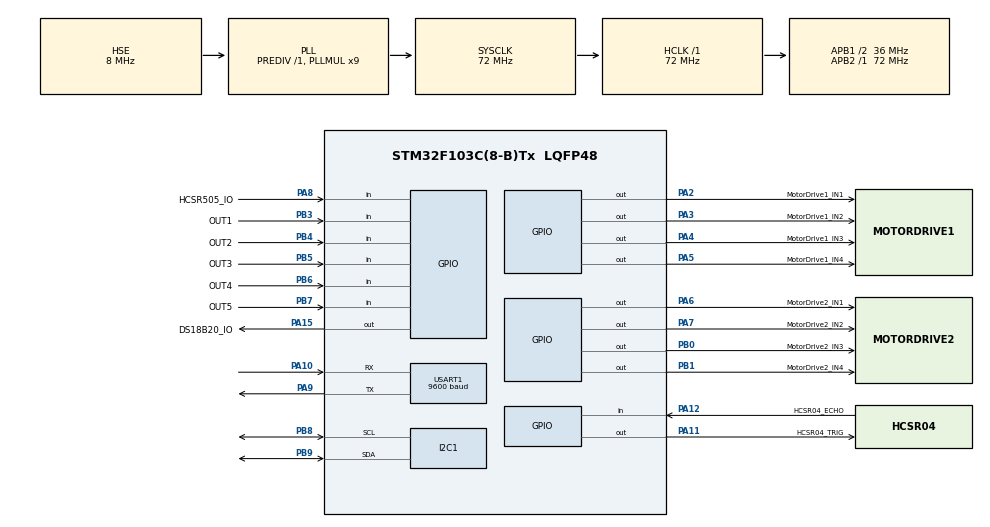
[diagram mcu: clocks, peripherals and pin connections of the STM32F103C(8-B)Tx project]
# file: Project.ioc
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Mcu.Family=STM32F1
Mcu.Name=STM32F103C(8-B)Tx
Mcu.Package=LQFP48
NVIC.PriorityGroup=NVIC_PRIORITYGROUP_4
PA10.Mode=Asynchronous
PA10.Signal=USART1_RX
PA11.GPIO_Label=HCSR04_TRIG
PA11.GPIO_PuPd=GPIO_PULLDOWN
PA11.GPIO_Speed=GPIO_SPEED_FREQ_HIGH
PA11.Signal=GPIO_Output
PA12.GPIO_Label=HCSR04_ECHO
PA12.Signal=GPIO_Input
PA13.Mode=Serial_Wire
PA13.Signal=SYS_JTMS-SWDIO
PA14.Mode=Serial_Wire
PA14.Signal=SYS_JTCK-SWCLK
PA15.GPIO_Label=DS18B20_IO
PA15.GPIO_PuPd=GPIO_PULLUP
PA15.GPIO_Speed=GPIO_SPEED_FREQ_HIGH
PA15.PinState=GPIO_PIN_SET
PA15.Signal=GPIO_Output
PA2.GPIO_Label=MotorDrive1_IN1
PA2.GPIO_PuPd=GPIO_PULLDOWN
PA2.GPIO_Speed=GPIO_SPEED_FREQ_HIGH
PA2.Signal=GPIO_Output
PA3.GPIO_Label=MotorDrive1_IN2
PA3.GPIO_PuPd=GPIO_PULLDOWN
PA3.GPIO_Speed=GPIO_SPEED_FREQ_HIGH
PA3.Signal=GPIO_Output
PA4.GPIO_Label=MotorDrive1_IN3
PA4.GPIO_PuPd=GPIO_PULLDOWN
PA4.GPIO_Speed=GPIO_SPEED_FREQ_HIGH
PA4.Signal=GPIO_Output
PA5.GPIO_Label=MotorDrive1_IN4
PA5.GPIO_PuPd=GPIO_PULLDOWN
PA5.GPIO_Speed=GPIO_SPEED_FREQ_HIGH
PA5.Signal=GPIO_Output
PA6.GPIO_Label=MotorDrive2_IN1
PA6.GPIO_PuPd=GPIO_PULLDOWN
PA6.GPIO_Speed=GPIO_SPEED_FREQ_HIGH
PA6.Signal=GPIO_Output
PA7.GPIO_Label=MotorDrive2_IN2
PA7.GPIO_PuPd=GPIO_PULLDOWN
PA7.GPIO_Speed=GPIO_SPEED_FREQ_HIGH
PA7.Signal=GPIO_Output
PA8.GPIO_Label=HCSR505_IO
PA8.Signal=GPIO_Input
PA9.Mode=Asynchronous
PA9.Signal=USART1_TX
PB0.GPIO_Label=MotorDrive2_IN3
PB0.GPIO_PuPd=GPIO_PULLDOWN
PB0.GPIO_Speed=GPIO_SPEED_FREQ_HIGH
PB0.Signal=GPIO_Output
PB1.GPIO_Label=MotorDrive2_IN4
PB1.GPIO_PuPd=GPIO_PULLDOWN
PB1.GPIO_Speed=GPIO_SPEED_FREQ_HIGH
PB1.Signal=GPIO_Output
PB3.GPIO_Label=OUT1
PB3.Signal=GPIO_Input
PB4.GPIO_Label=OUT2
PB4.Signal=GPIO_Input
PB5.GPIO_Label=OUT3
PB5.Signal=GPIO_Input
PB6.GPIO_Label=OUT4
PB6.Signal=GPIO_Input
PB7.GPIO_Label=OUT5
PB7.Signal=GPIO_Input
PB8.Mode=I2C
PB8.Signal=I2C1_SCL
PB9.Mode=I2C
PB9.Signal=I2C1_SDA
PC14-OSC32_IN.Mode=LSE-External-Oscillator
PC14-OSC32_IN.Signal=RCC_OSC32_IN
PC15-OSC32_OUT.Mode=LSE-External-Oscillator
PC15-OSC32_OUT.Signal=RCC_OSC32_OUT
PD0-OSC_IN.Mode=HSE-External-Oscillator
PD0-OSC_IN.Signal=RCC_OSC_IN
PD1-OSC_OUT.Mode=HSE-External-Oscillator
PD1-OSC_OUT.Signal=RCC_OSC_OUT
ProjectManager.HeapSize=0x200
ProjectManager.StackSize=0x400
ProjectManager.TargetToolchain=MDK-ARM V5.32
RCC.AHBFreq_Value=72000000
RCC.APB1CLKDivider=RCC_HCLK_DIV2
RCC.APB1Freq_Value=36000000
RCC.APB1TimFreq_Value=72000000
RCC.APB2Freq_Value=72000000
RCC.APB2TimFreq_Value=72000000
RCC.HCLKFreq_Value=72000000
RCC.PLLMUL=RCC_PLL_MUL9
RCC.PLLSourceVirtual=RCC_PLLSOURCE_HSE
RCC.SYSCLKFreq_VALUE=72000000
RCC.SYSCLKSource=RCC_SYSCLKSOURCE_PLLCLK
RCC.USBFreq_Value=72000000
TIM1.Prescaler=71
USART1.BaudRate=9600
USART1.VirtualMode=VM_ASYNC
VP_TIM1_VS_ClockSourceINT.Mode=Internal
board=custom

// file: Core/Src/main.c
/* USER CODE BEGIN Header */
/**
 ******************************************************************************
 * @file           : main.c
 * @brief          : Main program body
 ******************************************************************************
 * @attention
 *
 * Copyright (c) 2023 STMicroelectronics.
 * All rights reserved.
 *
 * This software is licensed under terms that can be found in the LICENSE file
 * in the root directory of this software component.
 * If no LICENSE file comes with this software, it is provided AS-IS.
 *
 ******************************************************************************
 */
/* USER CODE END Header */
#include "main.h"
#include "i2c.h"
#include "tim.h"
#include "usart.h"
#include "gpio.h"

/* USER CODE BEGIN Includes */
#include "oled.h"
#include "ds18b20.h"
#include "hcsr04.h"
/* USER CODE END Includes */

/* USER CODE BEGIN PD */
#define ExecuteChannel_OUT1 HAL_GPIO_ReadPin(OUT1_GPIO_Port, OUT1_Pin) == GPIO_PIN_SET
#define ExecuteChannel_OUT2 HAL_GPIO_ReadPin(OUT2_GPIO_Port, OUT2_Pin) == GPIO_PIN_SET
#define ExecuteChannel_OUT3 HAL_GPIO_ReadPin(OUT3_GPIO_Port, OUT3_Pin) == GPIO_PIN_SET
#define ExecuteChannel_OUT4 HAL_GPIO_ReadPin(OUT4_GPIO_Port, OUT4_Pin) == GPIO_PIN_SET
#define ExecuteChannel_OUT5 HAL_GPIO_ReadPin(OUT5_GPIO_Port, OUT5_Pin) == GPIO_PIN_SET
#define NotExecuteChannel_OUT1 HAL_GPIO_ReadPin(OUT1_GPIO_Port, OUT1_Pin) == GPIO_PIN_RESET
#define NotExecuteChannel_OUT2 HAL_GPIO_ReadPin(OUT2_GPIO_Port, OUT2_Pin) == GPIO_PIN_RESET
#define NotExecuteChannel_OUT3 HAL_GPIO_ReadPin(OUT3_GPIO_Port, OUT3_Pin) == GPIO_PIN_RESET
#define NotExecuteChannel_OUT4 HAL_GPIO_ReadPin(OUT4_GPIO_Port, OUT4_Pin) == GPIO_PIN_RESET
#define NotExecuteChannel_OUT5 HAL_GPIO_ReadPin(OUT5_GPIO_Port, OUT5_Pin) == GPIO_PIN_RESET
/* USER CODE END PD */

void SystemClock_Config(void);

int main(void)
{
	/* USER CODE BEGIN 1 */
	uint8_t x = 0;
	uint8_t y = 0;
	double temperatureValue = 0;
	uint8_t tempratureValueInteger;
	uint8_t tempratureValueDecimal;
	double distanceValue = 0;
	uint8_t distanceValueInteger;
	uint8_t distanceValueDecimal;
	/* USER CODE END 1 */

	/* MCU Configuration--------------------------------------------------------*/

	/* Reset of all peripherals, Initializes the Flash interface and the Systick. */
	HAL_Init();

	/* Configure the system clock */
	SystemClock_Config();

	/* Initialize all configured peripherals */
	MX_GPIO_Init();
	MX_USART1_UART_Init();
	MX_I2C1_Init();
	MX_TIM1_Init();
	/* USER CODE BEGIN 2 */
	OLED_Init();
	OLED_Clear();
	OLED_ShowChinese(x + 32 + 16 * 0, y + 2 * 0, 0);
	OLED_ShowChinese(x + 32 + 16 * 1, y + 2 * 0, 1);
	OLED_ShowChinese(x + 32 + 16 * 2, y + 2 * 0, 2);
	OLED_ShowChinese(x + 32 + 16 * 3, y + 2 * 0, 3);
	OLED_ShowChinese(x + 24 + 16 * 0, y + 2 * 1, 4);
	OLED_ShowChinese(x + 24 + 16 * 1, y + 2 * 1, 5);
	OLED_ShowChinese(x + 24 + 16 * 2, y + 2 * 1, 6);
	OLED_ShowChinese(x + 24 + 16 * 3, y + 2 * 1, 7);
	OLED_ShowChinese(x + 24 + 16 * 4, y + 2 * 1, 8);
	OLED_ShowChinese(x + 16 * 0, y + 2 * 2, 9);
	OLED_ShowChinese(x + 16 * 1, y + 2 * 2, 10);
	OLED_ShowChinese(x + 16 * 2, y + 2 * 2, 11);
	OLED_ShowChinese(x + 16 * 3, y + 2 * 2, 12);
	OLED_ShowChar(x + 16 * 4 + 8 * 0, y + 2 * 2, ':', 16);
	OLED_ShowChinese(x + 16 * 0, y + 2 * 3, 9);
	OLED_ShowChinese(x + 16 * 1, y + 2 * 3, 10);
	OLED_ShowChinese(x + 16 * 2, y + 2 * 3, 13);
	OLED_ShowChinese(x + 16 * 3, y + 2 * 3, 14);
	OLED_ShowChar(x + 16 * 4 + 8 * 0, y + 2 * 3, ':', 16);
	/* USER CODE END 2 */

	/* Infinite loop */
	/* USER CODE BEGIN WHILE */
	while (1)
	{
		if (HAL_GPIO_ReadPin(HCSR505_IO_GPIO_Port, HCSR505_IO_Pin) == GPIO_PIN_SET)
		{
			temperatureValue = DS18B20_GetTemperture();
			tempratureValueInteger = (int)temperatureValue;
			tempratureValueDecimal = 10 * (temperatureValue - (int)temperatureValue);
			OLED_ShowNum(x + 16 * 4 + 8 * 2, y + 2 * 3, tempratureValueInteger, 2, 16);
			OLED_ShowChar(x + 16 * 4 + 8 * 4, y + 2 * 3, '.', 16);
			OLED_ShowNum(x + 16 * 4 + 8 * 5, y + 2 * 3, tempratureValueDecimal, 1, 16);
			OLED_ShowChar(x + 16 * 4 + 8 * 6, y + 2 * 3, 'C', 16);
		}

		distanceValue = HCSR04_GetDistance_Single();
		distanceValueInteger = (int)distanceValue;
		distanceValueDecimal = 10 * (distanceValue - (int)distanceValue);
		OLED_ShowNum(x + 16 * 4 + 8 * 2, y + 2 * 2, distanceValueInteger, 2, 16);
		OLED_ShowChar(x + 16 * 4 + 8 * 4, y + 2 * 2, '.', 16);
		OLED_ShowNum(x + 16 * 4 + 8 * 5, y + 2 * 2, distanceValueDecimal, 1, 16);
		OLED_ShowChar(x + 16 * 4 + 8 * 6, y + 2 * 2, 'c', 16);
		OLED_ShowChar(x + 16 * 4 + 8 * 7, y + 2 * 2, 'm', 16);

		if (ExecuteChannel_OUT3 && NotExecuteChannel_OUT1 && NotExecuteChannel_OUT5)
		{
			HAL_GPIO_WritePin(MotorDrive1_IN1_GPIO_Port, MotorDrive1_IN1_Pin, GPIO_PIN_RESET);
			HAL_GPIO_WritePin(MotorDrive1_IN2_GPIO_Port, MotorDrive1_IN2_Pin, GPIO_PIN_SET);
			HAL_GPIO_WritePin(MotorDrive1_IN3_GPIO_Port, MotorDrive1_IN3_Pin, GPIO_PIN_SET);
			HAL_GPIO_WritePin(MotorDrive1_IN4_GPIO_Port, MotorDrive1_IN4_Pin, GPIO_PIN_RESET);
			HAL_GPIO_WritePin(MotorDrive2_IN1_GPIO_Port, MotorDrive2_IN1_Pin, GPIO_PIN_SET);
			HAL_GPIO_WritePin(MotorDrive2_IN2_GPIO_Port, MotorDrive2_IN2_Pin, GPIO_PIN_RESET);
			HAL_GPIO_WritePin(MotorDrive2_IN3_GPIO_Port, MotorDrive2_IN3_Pin, GPIO_PIN_SET);
			HAL_GPIO_WritePin(MotorDrive2_IN4_GPIO_Port, MotorDrive2_IN4_Pin, GPIO_PIN_RESET);
		}
		else if ((ExecuteChannel_OUT1 || ExecuteChannel_OUT2) && NotExecuteChannel_OUT3 && NotExecuteChannel_OUT4 && NotExecuteChannel_OUT5)
		{
			HAL_GPIO_WritePin(MotorDrive1_IN1_GPIO_Port, MotorDrive1_IN1_Pin, GPIO_PIN_RESET);
			HAL_GPIO_WritePin(MotorDrive1_IN2_GPIO_Port, MotorDrive1_IN2_Pin, GPIO_PIN_SET);
			HAL_GPIO_WritePin(MotorDrive1_IN3_GPIO_Port, MotorDrive1_IN3_Pin, GPIO_PIN_RESET);
			HAL_GPIO_WritePin(MotorDrive1_IN4_GPIO_Port, MotorDrive1_IN4_Pin, GPIO_PIN_SET);
			HAL_GPIO_WritePin(MotorDrive2_IN1_GPIO_Port, MotorDrive2_IN1_Pin, GPIO_PIN_SET);
			HAL_GPIO_WritePin(MotorDrive2_IN2_GPIO_Port, MotorDrive2_IN2_Pin, GPIO_PIN_RESET);
			HAL_GPIO_WritePin(MotorDrive2_IN3_GPIO_Port, MotorDrive2_IN3_Pin, GPIO_PIN_RESET);
			HAL_GPIO_WritePin(MotorDrive2_IN4_GPIO_Port, MotorDrive2_IN4_Pin, GPIO_PIN_SET);
		}
		else if (NotExecuteChannel_OUT1 && NotExecuteChannel_OUT2 && NotExecuteChannel_OUT3 && (ExecuteChannel_OUT4 || ExecuteChannel_OUT5))
		{
			HAL_GPIO_WritePin(MotorDrive1_IN1_GPIO_Port, MotorDrive1_IN1_Pin, GPIO_PIN_SET);
			HAL_GPIO_WritePin(MotorDrive1_IN2_GPIO_Port, MotorDrive1_IN2_Pin, GPIO_PIN_RESET);
			HAL_GPIO_WritePin(MotorDrive1_IN3_GPIO_Port, MotorDrive1_IN3_Pin, GPIO_PIN_SET);
			HAL_GPIO_WritePin(MotorDrive1_IN4_GPIO_Port, MotorDrive1_IN4_Pin, GPIO_PIN_RESET);
			HAL_GPIO_WritePin(MotorDrive2_IN1_GPIO_Port, MotorDrive2_IN1_Pin, GPIO_PIN_RESET);
			HAL_GPIO_WritePin(MotorDrive2_IN2_GPIO_Port, MotorDrive2_IN2_Pin, GPIO_PIN_SET);
			HAL_GPIO_WritePin(MotorDrive2_IN3_GPIO_Port, MotorDrive2_IN3_Pin, GPIO_PIN_SET);
			HAL_GPIO_WritePin(MotorDrive2_IN4_GPIO_Port, MotorDrive2_IN4_Pin, GPIO_PIN_RESET);
		}
		else if (ExecuteChannel_OUT1 && ExecuteChannel_OUT2 && ExecuteChannel_OUT3 && ExecuteChannel_OUT4 && ExecuteChannel_OUT5)
		{
			HAL_GPIO_WritePin(MotorDrive1_IN1_GPIO_Port, MotorDrive1_IN1_Pin, GPIO_PIN_RESET);
			HAL_GPIO_WritePin(MotorDrive1_IN2_GPIO_Port, MotorDrive1_IN2_Pin, GPIO_PIN_RESET);
			HAL_GPIO_WritePin(MotorDrive1_IN3_GPIO_Port, MotorDrive1_IN3_Pin, GPIO_PIN_RESET);
			HAL_GPIO_WritePin(MotorDrive1_IN4_GPIO_Port, MotorDrive1_IN4_Pin, GPIO_PIN_RESET);
			HAL_GPIO_WritePin(MotorDrive2_IN1_GPIO_Port, MotorDrive2_IN1_Pin, GPIO_PIN_RESET);
			HAL_GPIO_WritePin(MotorDrive2_IN2_GPIO_Port, MotorDrive2_IN2_Pin, GPIO_PIN_RESET);
			HAL_GPIO_WritePin(MotorDrive2_IN3_GPIO_Port, MotorDrive2_IN3_Pin, GPIO_PIN_RESET);
			HAL_GPIO_WritePin(MotorDrive2_IN4_GPIO_Port, MotorDrive2_IN4_Pin, GPIO_PIN_RESET);
		}
		else if (NotExecuteChannel_OUT1 && NotExecuteChannel_OUT2 && NotExecuteChannel_OUT3 && NotExecuteChannel_OUT4 && NotExecuteChannel_OUT5)
		{
			HAL_GPIO_WritePin(MotorDrive1_IN1_GPIO_Port, MotorDrive1_IN1_Pin, GPIO_PIN_RESET);
			HAL_GPIO_WritePin(MotorDrive1_IN2_GPIO_Port, MotorDrive1_IN2_Pin, GPIO_PIN_RESET);
			HAL_GPIO_WritePin(MotorDrive1_IN3_GPIO_Port, MotorDrive1_IN3_Pin, GPIO_PIN_RESET);
			HAL_GPIO_WritePin(MotorDrive1_IN4_GPIO_Port, MotorDrive1_IN4_Pin, GPIO_PIN_RESET);
			HAL_GPIO_WritePin(MotorDrive2_IN1_GPIO_Port, MotorDrive2_IN1_Pin, GPIO_PIN_RESET);
			HAL_GPIO_WritePin(MotorDrive2_IN2_GPIO_Port, MotorDrive2_IN2_Pin, GPIO_PIN_RESET);
			HAL_GPIO_WritePin(MotorDrive2_IN3_GPIO_Port, MotorDrive2_IN3_Pin, GPIO_PIN_RESET);
			HAL_GPIO_WritePin(MotorDrive2_IN4_GPIO_Port, MotorDrive2_IN4_Pin, GPIO_PIN_RESET);
		}
		/* USER CODE END WHILE */

	}
}

void SystemClock_Config(void)
{
	RCC_OscInitTypeDef RCC_OscInitStruct = {0};
	RCC_ClkInitTypeDef RCC_ClkInitStruct = {0};

	/** Initializes the RCC Oscillators according to the specified parameters
	 * in the RCC_OscInitTypeDef structure.
	 */
	RCC_OscInitStruct.OscillatorType = RCC_OSCILLATORTYPE_HSE;
	RCC_OscInitStruct.HSEState = RCC_HSE_ON;
	RCC_OscInitStruct.HSEPredivValue = RCC_HSE_PREDIV_DIV1;
	RCC_OscInitStruct.HSIState = RCC_HSI_ON;
	RCC_OscInitStruct.PLL.PLLState = RCC_PLL_ON;
	RCC_OscInitStruct.PLL.PLLSource = RCC_PLLSOURCE_HSE;
	RCC_OscInitStruct.PLL.PLLMUL = RCC_PLL_MUL9;
	if (HAL_RCC_OscConfig(&RCC_OscInitStruct) != HAL_OK)
	{
		Error_Handler();
	}

	/** Initializes the CPU, AHB and APB buses clocks
	 */
	RCC_ClkInitStruct.ClockType = RCC_CLOCKTYPE_HCLK | RCC_CLOCKTYPE_SYSCLK | RCC_CLOCKTYPE_PCLK1 | RCC_CLOCKTYPE_PCLK2;
	RCC_ClkInitStruct.SYSCLKSource = RCC_SYSCLKSOURCE_PLLCLK;
	RCC_ClkInitStruct.AHBCLKDivider = RCC_SYSCLK_DIV1;
	RCC_ClkInitStruct.APB1CLKDivider = RCC_HCLK_DIV2;
	RCC_ClkInitStruct.APB2CLKDivider = RCC_HCLK_DIV1;

	if (HAL_RCC_ClockConfig(&RCC_ClkInitStruct, FLASH_LATENCY_2) != HAL_OK)
	{
		Error_Handler();
	}
}

void Error_Handler(void)
{
	__disable_irq();
	while (1)
	{
	}
}
